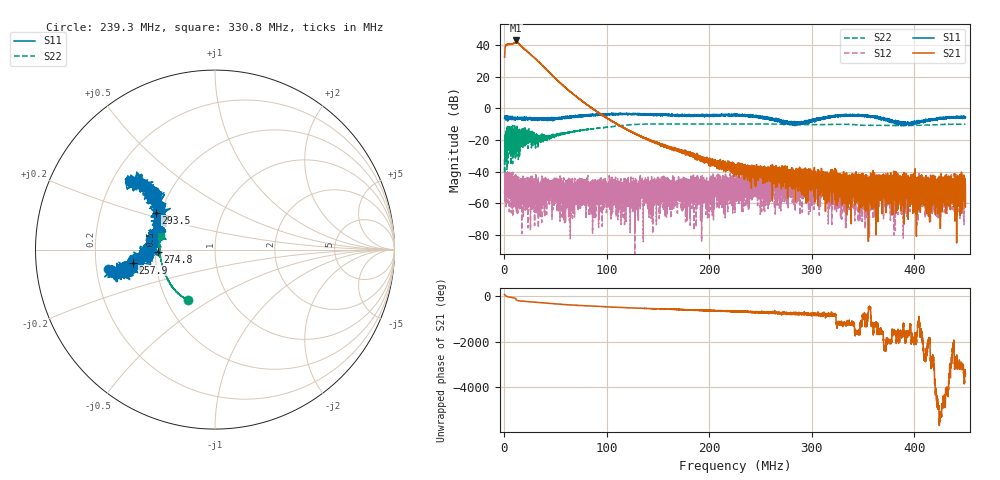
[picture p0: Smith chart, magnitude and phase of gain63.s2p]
# Hz S DB R 50
! CMT, M5065, 19127446, 24.2.4/2
! Date: 12/3/2024 4:29:49 PM
! Data: Format (Calibration Info)
! Freq	S11:dB/Ang(F2)	S21:dB/Ang(F2)	S12:dB/Ang(F2)	S22:dB/Ang(F2)
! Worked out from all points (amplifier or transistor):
!   9000 points, 300 kHz to 450 MHz, reference 50 ohm
!   highest |S21| = 42.9 dB at 11.44 MHz (marker M1)
!   |S21| within 3 dB of that: 1.761 MHz to 15.63 MHz (13.87 MHz wide, 159 % of centre)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
!   unconditionally stable (mu >= 1): 14.01 MHz to 16.44 MHz; 16.44 MHz to 18.04 MHz; 18.04 MHz to end of sweep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
!   at 75.26 MHz: K = 68.50, MAG = 6.9 dB, |S12| = -51.7 dB
!   at 225.2 MHz: K = 7103.15, MAG = -36.3 dB, |S12| = -49.2 dB
!   at 450 MHz: K = 45169.52, MAG = -45.3 dB, |S12| = -55.7 dB
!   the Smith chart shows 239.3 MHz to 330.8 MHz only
!   S11 on the Smith chart (normalised r, x): 239.3 MHz: 0.25, -0.09; 257.9 MHz: 0.37, -0.07; 274.8 MHz: 0.52, -0.02; 293.5 MHz: 0.47, +0.23; 330.8 MHz: 0.29, +0.34
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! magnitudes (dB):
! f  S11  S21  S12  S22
! 300 kHz  -6.3  32.3  -52.3  -32.2
! 3.098 MHz  -7.9  40.6  -40.1  -11.4
! 11.44 MHz  -6.4  42.9  -55.3  -22.2
! 33.13 MHz  -6.4  29.7  -51.4  -21.3
! 43.68 MHz  -6.5  22.8  -50.1  -18.9
! 75.26 MHz  -4.7  5.0  -51.7  -13.9
! 113.2 MHz  -3.3  -11.3  -55.3  -11.0
! 150.2 MHz  -4.4  -22.5  -55.8  -9.9
! 225.2 MHz  -4.4  -38.7  -49.2  -9.9
! 239.3 MHz  -4.4  -36.3  -45.7  -9.9
! 257.9 MHz  -6.7  -39.7  -46.7  -9.9
! 274.8 MHz  -10.0  -45.2  -42.6  -10.1
! 293.5 MHz  -8.2  -43.0  -44.9  -10.3
! 300.1 MHz  -7.8  -42.7  -44.0  -10.3
! 330.8 MHz  -4.6  -43.7  -48.7  -10.1
! 365 MHz  -5.7  -43.8  -48.1  -10.8
! 369.5 MHz  -6.6  -47.9  -51.5  -10.8
! 375.1 MHz  -8.1  -44.3  -49.2  -10.8
! 394.2 MHz  -8.8  -51.0  -54.3  -10.9
! 423.7 MHz  -6.4  -51.1  -46.9  -10.3
! 439.1 MHz  -5.4  -51.8  -41.3  -10.1
! 450 MHz  -5.4  -47.2  -55.7  -10.0
